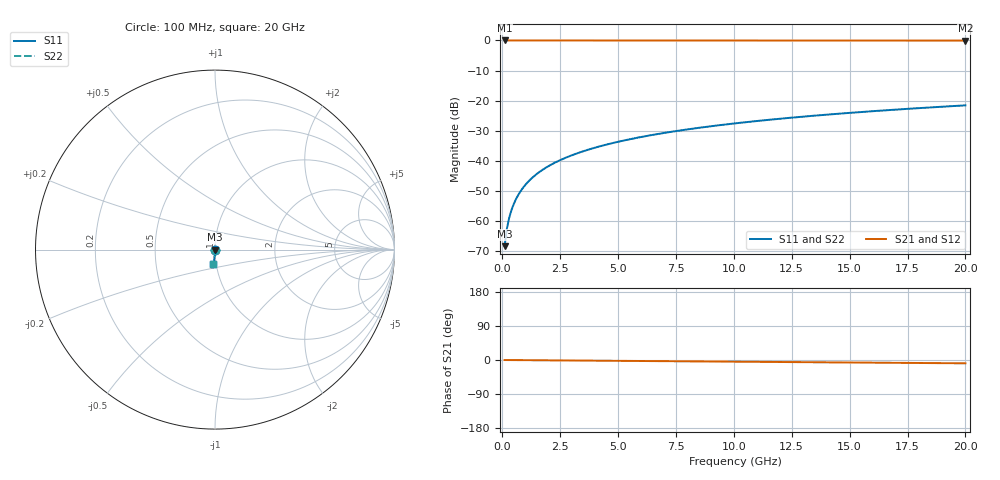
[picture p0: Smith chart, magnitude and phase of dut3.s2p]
! Touchstone file exported from HFSS 2026.1.0
!  File:  C:/ffzhzh/LocalFiles/Ansys_Project_Files/temp_val_TSV_3_1782974730_45748.aedt
!  Generated:  02:46:47 PM Jul  2, 2026
!  Design:  TSV
!  Project:  temp_val_TSV_3_1782974730_45748
! Variables:
!  h_bsmrdl = 2um
!  h_ox = 20um
!  h_rdl = 5um
!  h_sub = 77.95um
!  h_tmrdl = 5um
!  h_tsv = 77.95um
!  h_via = 3um
!  l_bsmrdl = 300um
!  l_sub = 427.72um
!  l_tmrdl = 200um
!  m_sub = 200um
!  pitch = 35.41um
!  r_tsv = 13.86um
!  s_tmrdl = 10um
!  w_bsmrdl = 18um
!  w_sub = 500um
!  w_tmrdl = 12um
!  x_tsv_center1 = 206um
!  x_tsv_center2 = 524um
!  x_tsv_center3 = 736um
!  x_tsv_center4 = 1054um
!  x_tsv_center5 = 1266um
!  x_tsv_center6 = 1584um
# GHz S MA R 50.000000
! Terminal data exported
! Port[1] = TSV1_1_T1
! Port[2] = TSV1_1_T2
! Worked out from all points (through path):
!   200 points, 100 MHz to 20 GHz, reference 50 ohm
!   highest |S21| = 0.00 dB at 100 MHz (marker M1); lowest = 0.0 dB at 20 GHz (marker M2)
!   group delay of S21, straight-line fit = 1.22 ps
!   lowest |S11| = -68.5 dB at 100 MHz (marker M3), VSWR 1.00, Z = 50 - j0.0367 ohm
!   |S11| at or under -10 dB: start of sweep to end of sweep
!   |S22| runs from -68.5 to -21.6 dB; largest |S21 - S12| = 2.2e-15
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0.1  0.0003775 -76.5  0.9999 -0.0  0.9999 -0.0  0.0003775 -76.5
! Gamma 0 0 0 0
! Port Impedance 50 0 50 0
0.2  0.0007468 -81.9  0.9999 -0.1  0.9999 -0.1  0.0007468 -81.9
0.3  0.001128 -83.4  0.9999 -0.1  0.9999 -0.1  0.001128 -83.4
0.4  0.001518 -84.1  0.9998 -0.2  0.9998 -0.2  0.001518 -84.1
0.5  0.001917 -84.6  0.9998 -0.2  0.9998 -0.2  0.001917 -84.6
0.7  0.002731 -85.3  0.9998 -0.3  0.9998 -0.3  0.002731 -85.3
0.8  0.003143 -85.6  0.9997 -0.4  0.9997 -0.4  0.003143 -85.6
1  0.003972 -86.2  0.9997 -0.5  0.9997 -0.5  0.003972 -86.2
1.2  0.004802 -86.7  0.9997 -0.5  0.9997 -0.5  0.004802 -86.7
1.4  0.005633 -87.1  0.9996 -0.6  0.9996 -0.6  0.005633 -87.1
1.7  0.006879 -87.6  0.9996 -0.8  0.9996 -0.8  0.006879 -87.6
2  0.008124 -88.1  0.9996 -0.9  0.9996 -0.9  0.008124 -88.1
2.7  0.01103 -88.9  0.9995 -1.2  0.9995 -1.2  0.01103 -88.9
3.5  0.01435 -89.5  0.9994 -1.6  0.9994 -1.6  0.01435 -89.5
4.2  0.01726 -90.0  0.9993 -1.9  0.9993 -1.9  0.01726 -90.0
5  0.0206 -90.5  0.9992 -2.2  0.9992 -2.2  0.0206 -90.5
6.8  0.02812 -91.5  0.9989 -3.0  0.9989 -3.0  0.02812 -91.5
8.3  0.0344 -92.3  0.9986 -3.7  0.9986 -3.7  0.0344 -92.3
10.1  0.04193 -93.2  0.9982 -4.4  0.9982 -4.4  0.04193 -93.2
13.4  0.05571 -94.8  0.9974 -5.9  0.9974 -5.9  0.05571 -94.8
16.7  0.06946 -96.4  0.9964 -7.3  0.9964 -7.3  0.06946 -96.4
20  0.08315 -97.9  0.9953 -8.8  0.9953 -8.8  0.08315 -97.9
